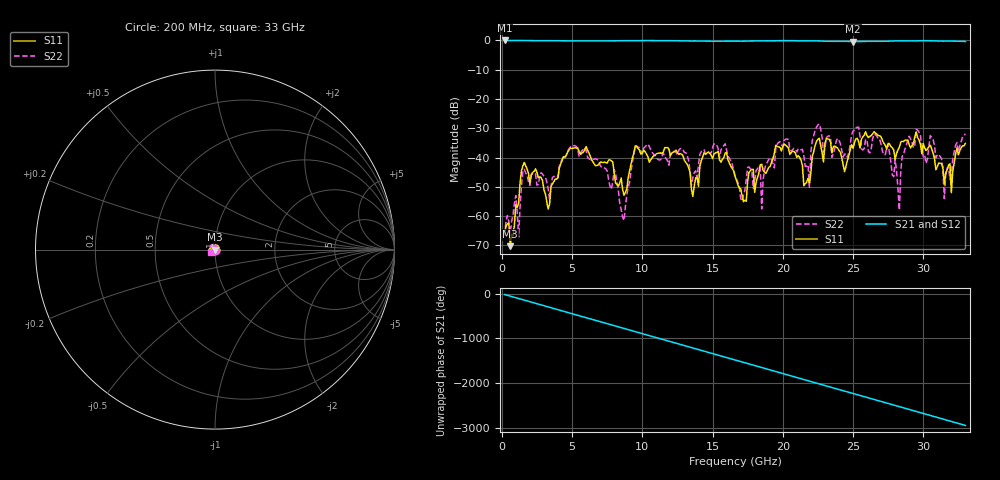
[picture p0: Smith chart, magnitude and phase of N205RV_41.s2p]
# GHZ S RI R 50
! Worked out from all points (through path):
!   329 points, 200 MHz to 33 GHz, reference 50 ohm
!   highest |S21| = -0.01 dB at 200 MHz (marker M1); lowest = -0.4 dB at 25 GHz (marker M2)
!   group delay of S21, straight-line fit = 248 ps
!   lowest |S11| = -70.3 dB at 600 MHz (marker M3), VSWR 1.00, Z = 50 + j0.016 ohm
!   |S11| at or under -10 dB: start of sweep to end of sweep
!   |S22| runs from -67.2 to -28.6 dB; largest |S21 - S12| = 0.0019
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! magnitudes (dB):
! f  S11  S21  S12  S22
! 200 MHz  -65.7  0.0  0.0  -66.7
! 600 MHz  -70.3  0.0  0.0  -65.8
! 1 GHz  -56.0  0.0  0.0  -53.0
! 1.2 GHz  -55.6  0.0  0.0  -67.2
! 1.6 GHz  -41.7  0.0  0.0  -44.0
! 3.3 GHz  -57.6  -0.1  -0.1  -50.7
! 5.7 GHz  -38.5  -0.2  -0.2  -37.7
! 8.7 GHz  -52.9  -0.1  -0.1  -61.5
! 9.5 GHz  -36.2  -0.1  -0.1  -36.1
! 11.2 GHz  -38.5  -0.1  -0.1  -40.9
! 16.6 GHz  -46.4  -0.3  -0.3  -46.2
! 18.5 GHz  -42.3  -0.1  -0.1  -57.6
! 20.3 GHz  -36.2  -0.1  -0.1  -33.7
! 21.9 GHz  -48.7  -0.2  -0.2  -50.2
! 22.1 GHz  -39.8  -0.2  -0.1  -34.2
! 25 GHz  -36.8  -0.4  -0.4  -31.0
! 27.6 GHz  -35.4  -0.2  -0.2  -38.6
! 28.3 GHz  -36.4  -0.2  -0.2  -58.0
! 29 GHz  -35.7  -0.2  -0.2  -32.7
! 30.5 GHz  -35.8  -0.1  -0.1  -32.5
! 31.5 GHz  -49.1  -0.2  -0.2  -54.0
! 33 GHz  -35.2  -0.4  -0.4  -31.9
